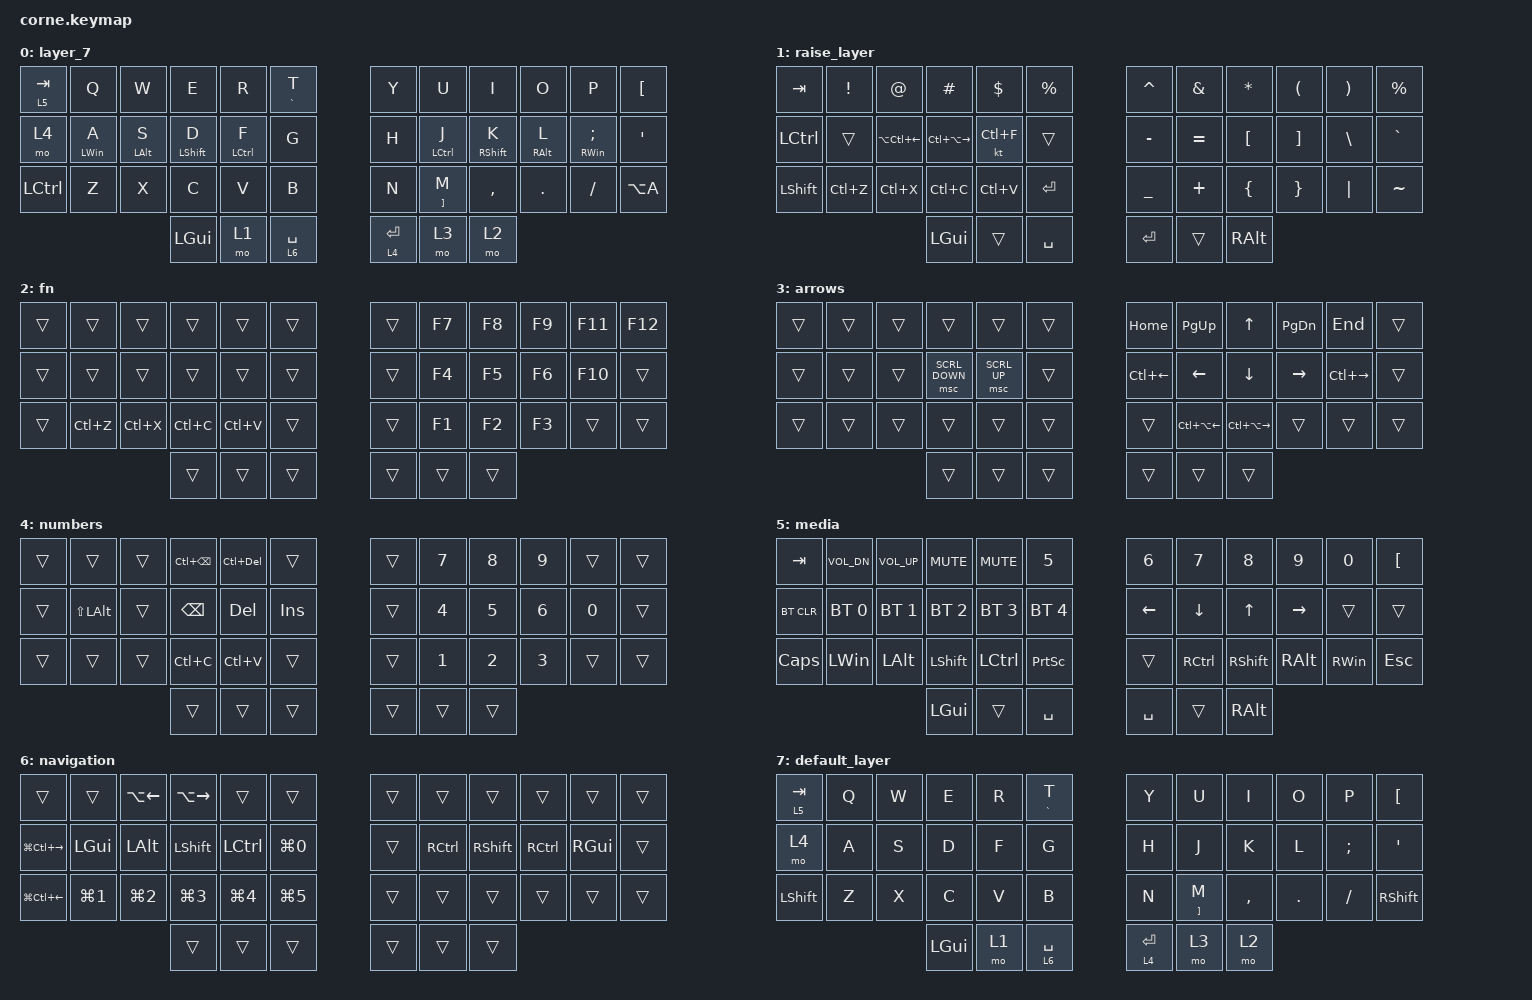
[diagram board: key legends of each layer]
/*
 * Copyright (c) 2020 The ZMK Contributors
 *
 * SPDX-License-Identifier: MIT
 */

#include <behaviors.dtsi>
#include <dt-bindings/zmk/bt.h>
#include <dt-bindings/zmk/keys.h>
#include <dt-bindings/zmk/pointing.h>

/ {
    combos {
        compatible = "zmk,combos";

        combo_esc {
            timeout-ms = <50>;
            key-positions = <0 1>;
            bindings = <&kp ESC>;
        };

        Alt_F4 {
            bindings = <&kp LA(F4)>;
            key-positions = <9 7>;
        };

        AltShift {
            bindings = <&kp LS(LEFT_ALT)>;
            key-positions = <14 15>;
        };
    };

    behaviors {
        ss_hs_modmorph: ss_hs_modmorph {
            compatible = "zmk,behavior-mod-morph";
            label = "SS_HS_MODMORPH";
            bindings = <&kp M>, <&kp RIGHT_BRACKET>;

            #binding-cells = <0>;
            mods = <(MOD_LSFT|MOD_RSFT)>;
        };

        kh_hs_tapdance: kh_hs_tapdance {
            compatible = "zmk,behavior-tap-dance";
            label = "KH_HS_TAPDANCE";
            #binding-cells = <0>;
            tapping-term-ms = <200>;
            bindings = <&kp LEFT_BRACKET>, <&kp RIGHT_BRACKET>;
        };

        hrm: hrm {
            compatible = "zmk,behavior-hold-tap";
            #binding-cells = <2>;
            flavor = "tap-preferred";
            tapping-term-ms = <200>;
            quick-tap-ms = <200>;
            require-prior-idle-ms = <125>;
            bindings = <&kp>, <&kp>;
        };
    };

    macros {
        Addres_frimware: Addres_frimware {
            compatible = "zmk,behavior-macro";
            #binding-cells = <0>;
            bindings = <&kp H &kp T &kp T &kp P &kp S &kp COLON &kp FSLH &kp FSLH &kp N &kp I &kp C &kp K &kp C &kp O &kp U &kp T &kp S &kp O &kp S &kp DOT &kp G &kp I &kp T &kp H &kp U &kp B &kp DOT &kp I &kp O &kp FSLH &kp K &kp E &kp Y &kp M &kp A &kp P &kp MINUS &kp E &kp D &kp I &kp T &kp O &kp R &kp FSLH>;
            label = "ADDRES_FRIMWARE";
        };
    };

    keymap {
        compatible = "zmk,keymap";

        layer_7 {
            bindings = <
&lt 5 TAB  &kp Q           &kp W           &kp E             &kp R        &mt GRAVE T    &kp Y        &kp U                &kp I              &kp O            &kp P                    &kp LEFT_BRACKET
&mo 4      &mt LEFT_WIN A  &mt LEFT_ALT S  &mt LEFT_SHIFT D  &mt LCTRL F  &kp G          &kp H        &mt LCTRL J          &mt RIGHT_SHIFT K  &mt RIGHT_ALT L  &mt RIGHT_WIN SEMICOLON  &kp SQT
&kp LCTRL  &kp Z           &kp X           &kp C             &kp V        &kp B          &kp N        &mt RIGHT_BRACKET M  &kp COMMA          &kp DOT          &kp FSLH                 &kp LA(A)
                                           &kp LEFT_GUI      &mo 1        &lt 6 SPACE    &lt 4 ENTER  &mo 3                &mo 2
            >;
        };

        raise_layer {
            // -----------------------------------------------------------------------------------------
            // |  TAB |  !  |  @  |  #  |  $  |  %  |   |  ^  |  &  |  *  |  (  |  )  | BKSP |
            // | CTRL |     |     |     |     |     |   |  -  |  =  |  [  |  ]  |  \  |  `   |
            // | SHFT |     |     |     |     |     |   |  _  |  +  |  {  |  }  | "|" |  ~   |
            //                    | GUI |     | SPC |   | ENT |     | ALT |

            bindings = <
&kp TAB    &kp EXCL   &kp AT                  &kp HASH                 &kp DLLR   &kp PRCNT    &kp CARET  &kp AMPS   &kp ASTRK  &kp LPAR  &kp RPAR  &kp PERCENT
&kp LCTRL  &trans     &kp LA(LC(LEFT_ARROW))  &kp LC(LA(RIGHT_ARROW))  &kt LC(F)  &trans       &kp MINUS  &kp EQUAL  &kp LBKT   &kp RBKT  &kp BSLH  &kp GRAVE
&kp LSHFT  &kp LC(Z)  &kp LC(X)               &kp LC(C)                &kp LC(V)  &kp ENTER    &kp UNDER  &kp PLUS   &kp LBRC   &kp RBRC  &kp PIPE  &kp TILDE
                                              &kp LGUI                 &trans     &kp SPACE    &kp RET    &trans     &kp RALT
            >;
        };

        fn {
            bindings = <
&trans  &trans     &trans     &trans     &trans     &trans    &trans  &kp F7  &kp F8  &kp F9  &kp F11  &kp F12
&trans  &trans     &trans     &trans     &trans     &trans    &trans  &kp F4  &kp F5  &kp F6  &kp F10  &trans
&trans  &kp LC(Z)  &kp LC(X)  &kp LC(C)  &kp LC(V)  &trans    &trans  &kp F1  &kp F2  &kp F3  &trans   &trans
                              &trans     &trans     &trans    &trans  &trans  &trans
            >;
        };

        arrows {
            bindings = <
&trans  &trans  &trans  &trans          &trans        &trans    &kp HOME            &kp PAGE_UP       &kp UP_ARROW       &kp PAGE_DOWN    &kp END        &trans
&trans  &trans  &trans  &msc SCRL_DOWN  &msc SCRL_UP  &trans    &kp LC(LEFT_ARROW)  &kp LEFT          &kp DOWN_ARROW     &kp RIGHT_ARROW  &kp LC(RIGHT)  &trans
&trans  &trans  &trans  &trans          &trans        &trans    &trans              &kp LC(LA(LEFT))  &kp LC(LA(RIGHT))  &trans           &trans         &trans
                        &trans          &trans        &trans    &trans              &trans            &trans
            >;
        };

        numbers {
            bindings = <
&trans  &trans            &trans  &kp LC(BACKSPACE)  &kp LC(DELETE)  &trans        &trans  &kp N7  &kp N8  &kp N9        &trans  &trans
&trans  &kp LS(LEFT_ALT)  &trans  &kp BACKSPACE      &kp DELETE      &kp INSERT    &trans  &kp N4  &kp N5  &kp NUMBER_6  &kp N0  &trans
&trans  &trans            &trans  &kp LC(C)          &kp LC(V)       &trans        &trans  &kp N1  &kp N2  &kp N3        &trans  &trans
                                  &trans             &trans          &trans        &trans  &trans  &trans
            >;
        };

        media {
            // -----------------------------------------------------------------------------------------
            // |  TAB |  1  |  2  |  3  |  4  |  5  |   |  6  |  7  |  8  |  9  |  0  | BKSP |
            // | BTCLR| BT1 | BT2 | BT3 | BT4 | BT5 |   | LFT | DWN |  UP | RGT |     |      |
            // | SHFT |     |     |     |     |     |   |     |     |     |     |     |      |
            //                    | GUI |     | SPC |   | ENT |     | ALT |

            bindings = <
&kp TAB       &kp C_VOL_DN  &kp C_VOLUME_UP  &kp K_MUTE      &kp K_MUTE    &kp N5             &kp N6     &kp N7     &kp N8           &kp N9         &kp N0         &kp LEFT_BRACKET
&bt BT_CLR    &bt BT_SEL 0  &bt BT_SEL 1     &bt BT_SEL 2    &bt BT_SEL 3  &bt BT_SEL 4       &kp LEFT   &kp DOWN   &kp UP           &kp RIGHT      &trans         &trans
&kp CAPSLOCK  &kp LEFT_WIN  &kp LEFT_ALT     &kp LEFT_SHIFT  &kp LCTRL     &kp PRINTSCREEN    &trans     &kp RCTRL  &kp RIGHT_SHIFT  &kp RIGHT_ALT  &kp RIGHT_WIN  &kp ESC
                                             &kp LGUI        &trans        &kp SPACE          &kp SPACE  &trans     &kp RALT
            >;
        };

        navigation {
            bindings = <
&trans                  &trans      &kp LA(LEFT_ARROW)  &kp LA(RIGHT_ARROW)  &trans            &trans              &trans  &trans     &trans           &trans     &trans         &trans
&kp LG(LC(RIGHT))       &kp LGUI    &kp LEFT_ALT        &kp LEFT_SHIFT       &kp LCTRL         &kp LG(N0)          &trans  &kp RCTRL  &kp RIGHT_SHIFT  &kp RCTRL  &kp RIGHT_GUI  &trans
&kp LG(LC(LEFT_ARROW))  &kp LG(N1)  &kp LG(NUMBER_2)    &kp LG(NUMBER_3)     &kp LG(NUMBER_4)  &kp LG(NUMBER_5)    &trans  &trans     &trans           &trans     &trans         &trans
                                                        &trans               &trans            &trans              &trans  &trans     &trans
            >;
        };

        default_layer {
            // -----------------------------------------------------------------------------------------
            // |  TAB |  Q  |  W  |  E  |  R  |  T  |   |  Y  |  U   |  I  |  O  |  P  | BKSP |
            // | CTRL |  A  |  S  |  D  |  F  |  G  |   |  H  |  J   |  K  |  L  |  ;  |  '   |
            // | SHFT |  Z  |  X  |  C  |  V  |  B  |   |  N  |  M   |  ,  |  .  |  /  | ESC  |
            //                    | GUI | LWR | SPC |   | ENT | RSE  | ALT |

            bindings = <
&lt 5 TAB       &kp Q  &kp W  &kp E         &kp R  &mt GRAVE T    &kp Y        &kp U                &kp I      &kp O    &kp P          &kp LEFT_BRACKET
&mo 4           &kp A  &kp S  &kp D         &kp F  &kp G          &kp H        &kp J                &kp K      &kp L    &kp SEMICOLON  &kp SQT
&kp LEFT_SHIFT  &kp Z  &kp X  &kp C         &kp V  &kp B          &kp N        &mt RIGHT_BRACKET M  &kp COMMA  &kp DOT  &kp FSLH       &kp RIGHT_SHIFT
                              &kp LEFT_GUI  &mo 1  &lt 6 SPACE    &lt 4 ENTER  &mo 3                &mo 2
            >;
        };
    };
};
